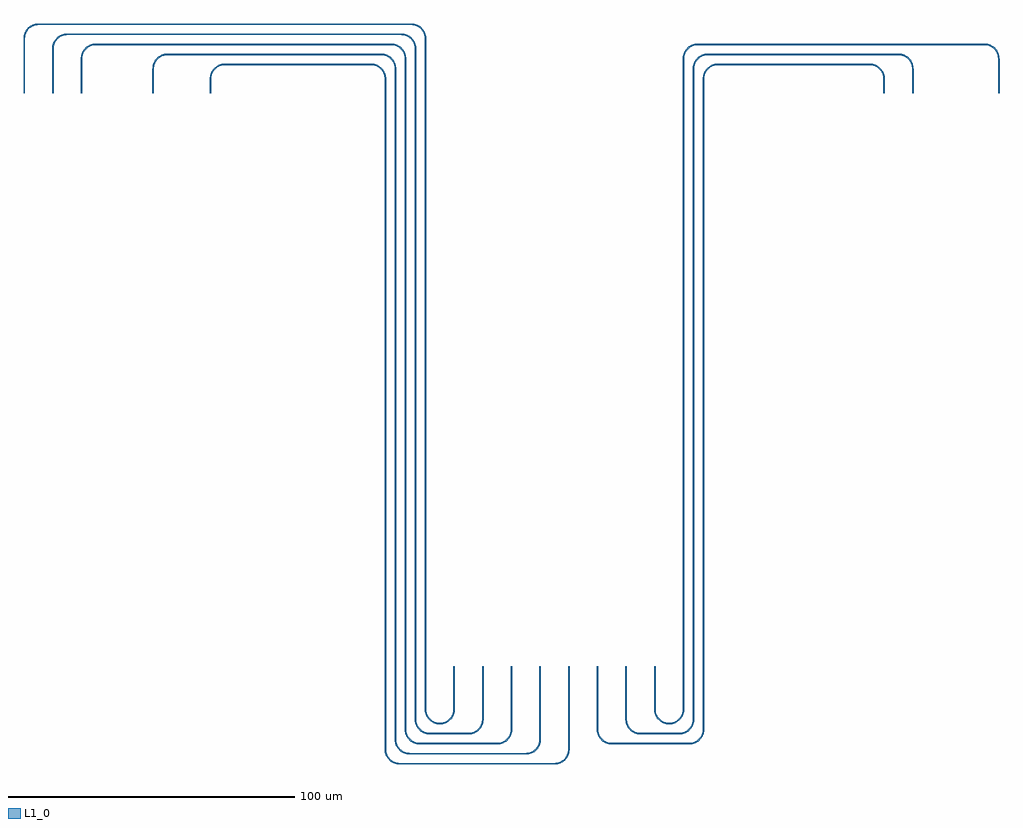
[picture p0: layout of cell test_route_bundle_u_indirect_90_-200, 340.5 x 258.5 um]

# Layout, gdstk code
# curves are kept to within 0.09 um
from math import pi, radians
import gdstk
lib = gdstk.Library(unit=1e-6, precision=1e-09)
def R(c, l, rs):  # rectangles x0, y0, x1, y1
    for r in rs: c.add(gdstk.rectangle(r[:2], r[2:], *l))
def P(c, l, *ps):  # polygons
    for p in ps: c.add(gdstk.Polygon(p, *l))
L1_0 = (1, 0)

bend_circular_gdsfactory = lib.new_cell('bend_circular_gdsfactorypcomponentspbendspbend_circular_0c9d0621')
P(bend_circular_gdsfactory, L1_0, [(0,-0.25),(0,0.25),(0.988,0.354),(1.932,0.661),(2.587,1.016),(3.359,1.641),(3.984,2.413),(4.339,3.068),(4.646,4.012),(4.75,5),(5.25,5),(5.135,3.908),(4.796,2.865),(4.247,1.914),(3.712,1.288),(3.086,0.753),(2.135,0.204),(1.092,-0.135)])

straight_gdsfactorypcomp = lib.new_cell('straight_gdsfactorypcomponentspwaveguidespstraight_L19__04b0d241')
R(straight_gdsfactorypcomp, L1_0, [(0,-0.25,19,0.25)])

c_straight_gdsfactorypcomp = lib.new_cell('straight_gdsfactorypcomponentspwaveguidespstraight_L130_494c334b')
R(c_straight_gdsfactorypcomp, L1_0, [(0,-0.25,130,0.25)])

c_straight_gdsfactorypcomp_ = lib.new_cell('straight_gdsfactorypcomponentspwaveguidespstraight_L234_3811858c')
R(c_straight_gdsfactorypcomp_, L1_0, [(0,-0.25,234,0.25)])

c_straight_gdsfactorypcomp__ = lib.new_cell('straight_gdsfactorypcomponentspwaveguidespstraight_L15__872c1d86')
R(c_straight_gdsfactorypcomp__, L1_0, [(0,-0.25,15,0.25)])

c_straight_gdsfactorypcomp___ = lib.new_cell('straight_gdsfactorypcomponentspwaveguidespstraight_L15p_a1f03c60')
R(c_straight_gdsfactorypcomp___, L1_0, [(0,-0.25,15.5,0.25)])

c_straight_gdsfactorypcomp____ = lib.new_cell('straight_gdsfactorypcomponentspwaveguidespstraight_L116_c2cb3646')
R(c_straight_gdsfactorypcomp____, L1_0, [(0,-0.25,116.5,0.25)])

c_straight_gdsfactorypcomp_____ = lib.new_cell('straight_gdsfactorypcomponentspwaveguidespstraight_L13p_5d7bad5d')
R(c_straight_gdsfactorypcomp_____, L1_0, [(0,-0.25,13.5,0.25)])

c_straight_gdsfactorypcomp______ = lib.new_cell('straight_gdsfactorypcomponentspwaveguidespstraight_L18p_a9db5d26')
R(c_straight_gdsfactorypcomp______, L1_0, [(0,-0.25,18.5,0.25)])

c_straight_gdsfactorypcomp_______ = lib.new_cell('straight_gdsfactorypcomponentspwaveguidespstraight_L12__f3e780f9')
R(c_straight_gdsfactorypcomp_______, L1_0, [(0,-0.25,12,0.25)])

c_straight_gdsfactorypcomp________ = lib.new_cell('straight_gdsfactorypcomponentspwaveguidespstraight_L103_23173387')
R(c_straight_gdsfactorypcomp________, L1_0, [(0,-0.25,103,0.25)])

c_straight_gdsfactorypcomp_________ = lib.new_cell('straight_gdsfactorypcomponentspwaveguidespstraight_L27__2bf0a6ae')
R(c_straight_gdsfactorypcomp_________, L1_0, [(0,-0.25,27,0.25)])

c_straight_gdsfactorypcomp__________ = lib.new_cell('straight_gdsfactorypcomponentspwaveguidespstraight_L22__d5b5a5a4')
R(c_straight_gdsfactorypcomp__________, L1_0, [(0,-0.25,22,0.25)])

c_straight_gdsfactorypcomp___________ = lib.new_cell('straight_gdsfactorypcomponentspwaveguidespstraight_L8p5_29adfe89')
R(c_straight_gdsfactorypcomp___________, L1_0, [(0,-0.25,8.5,0.25)])

c_straight_gdsfactorypcomp____________ = lib.new_cell('straight_gdsfactorypcomponentspwaveguidespstraight_L74p_1a9064db')
R(c_straight_gdsfactorypcomp____________, L1_0, [(0,-0.25,74.5,0.25)])

c_straight_gdsfactorypcomp_____________ = lib.new_cell('straight_gdsfactorypcomponentspwaveguidespstraight_L40p_ae74440f')
R(c_straight_gdsfactorypcomp_____________, L1_0, [(0,-0.25,40.5,0.25)])

c_straight_gdsfactorypcomp______________ = lib.new_cell('straight_gdsfactorypcomponentspwaveguidespstraight_L25p_17c3b0b8')
R(c_straight_gdsfactorypcomp______________, L1_0, [(0,-0.25,25.5,0.25)])

c_straight_gdsfactorypcomp_______________ = lib.new_cell('straight_gdsfactorypcomponentspwaveguidespstraight_L5_N_f5657628')
R(c_straight_gdsfactorypcomp_______________, L1_0, [(0,-0.25,5,0.25)])

c_straight_gdsfactorypcomp________________ = lib.new_cell('straight_gdsfactorypcomponentspwaveguidespstraight_L51__03aaf894')
R(c_straight_gdsfactorypcomp________________, L1_0, [(0,-0.25,51,0.25)])

c_straight_gdsfactorypcomp_________________ = lib.new_cell('straight_gdsfactorypcomponentspwaveguidespstraight_L54__b1e06083')
R(c_straight_gdsfactorypcomp_________________, L1_0, [(0,-0.25,54,0.25)])

c_straight_gdsfactorypcomp__________________ = lib.new_cell('straight_gdsfactorypcomponentspwaveguidespstraight_L29__e516d49d')
R(c_straight_gdsfactorypcomp__________________, L1_0, [(0,-0.25,29,0.25)])

c_straight_gdsfactorypcomp___________________ = lib.new_cell('straight_gdsfactorypcomponentspwaveguidespstraight_L53__a082d625')
R(c_straight_gdsfactorypcomp___________________, L1_0, [(0,-0.25,53,0.25)])

c_straight_gdsfactorypcomp____________________ = lib.new_cell('straight_gdsfactorypcomponentspwaveguidespstraight_L227_84f05189')
R(c_straight_gdsfactorypcomp____________________, L1_0, [(0,-0.25,227,0.25)])

c_straight_gdsfactorypcomp_____________________ = lib.new_cell('straight_gdsfactorypcomponentspwaveguidespstraight_L66p_535f6347')
R(c_straight_gdsfactorypcomp_____________________, L1_0, [(0,-0.25,66.5,0.25)])

c_straight_gdsfactorypcomp______________________ = lib.new_cell('straight_gdsfactorypcomponentspwaveguidespstraight_L100_d6863c55')
R(c_straight_gdsfactorypcomp______________________, L1_0, [(0,-0.25,100,0.25)])

test_route_bundle_u_indi = lib.new_cell('test_route_bundle_u_indirect_90_-200')
test_route_bundle_u_indi.add(gdstk.Reference(bend_circular_gdsfactory, (-95,24), rotation=pi))
test_route_bundle_u_indi.add(gdstk.Reference(straight_gdsfactorypcomp, (-100,0), rotation=pi/2))
test_route_bundle_u_indi.add(gdstk.Reference(bend_circular_gdsfactory, (40,19), rotation=pi/2))
test_route_bundle_u_indi.add(gdstk.Reference(c_straight_gdsfactorypcomp, (-95,24)))
test_route_bundle_u_indi.add(gdstk.Reference(bend_circular_gdsfactory, (45,-220), rotation=pi, x_reflection=True))
test_route_bundle_u_indi.add(gdstk.Reference(c_straight_gdsfactorypcomp_, (40,19), rotation=3*pi/2))
test_route_bundle_u_indi.add(gdstk.Reference(bend_circular_gdsfactory, (50,-215), rotation=3*pi/2, x_reflection=True))
test_route_bundle_u_indi.add(gdstk.Reference(c_straight_gdsfactorypcomp__, (50,-215), rotation=pi/2))
test_route_bundle_u_indi.add(gdstk.Reference(bend_circular_gdsfactory, (-85,20.5), rotation=pi))
test_route_bundle_u_indi.add(gdstk.Reference(c_straight_gdsfactorypcomp___, (-90,0), rotation=pi/2))
test_route_bundle_u_indi.add(gdstk.Reference(bend_circular_gdsfactory, (36.5,15.5), rotation=pi/2))
test_route_bundle_u_indi.add(gdstk.Reference(c_straight_gdsfactorypcomp____, (-85,20.5)))
test_route_bundle_u_indi.add(gdstk.Reference(bend_circular_gdsfactory, (41.5,-223.5), rotation=pi, x_reflection=True))
test_route_bundle_u_indi.add(gdstk.Reference(c_straight_gdsfactorypcomp_, (36.5,15.5), rotation=3*pi/2))
test_route_bundle_u_indi.add(gdstk.Reference(bend_circular_gdsfactory, (60,-218.5), rotation=3*pi/2, x_reflection=True))
test_route_bundle_u_indi.add(gdstk.Reference(c_straight_gdsfactorypcomp_____, (41.5,-223.5)))
test_route_bundle_u_indi.add(gdstk.Reference(c_straight_gdsfactorypcomp______, (60,-218.5), rotation=pi/2))
test_route_bundle_u_indi.add(gdstk.Reference(bend_circular_gdsfactory, (-75,17), rotation=pi))
test_route_bundle_u_indi.add(gdstk.Reference(c_straight_gdsfactorypcomp_______, (-80,0), rotation=pi/2))
test_route_bundle_u_indi.add(gdstk.Reference(bend_circular_gdsfactory, (33,12), rotation=pi/2))
test_route_bundle_u_indi.add(gdstk.Reference(c_straight_gdsfactorypcomp________, (-75,17)))
test_route_bundle_u_indi.add(gdstk.Reference(bend_circular_gdsfactory, (38,-227), rotation=pi, x_reflection=True))
test_route_bundle_u_indi.add(gdstk.Reference(c_straight_gdsfactorypcomp_, (33,12), rotation=3*pi/2))
test_route_bundle_u_indi.add(gdstk.Reference(bend_circular_gdsfactory, (70,-222), rotation=3*pi/2, x_reflection=True))
test_route_bundle_u_indi.add(gdstk.Reference(c_straight_gdsfactorypcomp_________, (38,-227)))
test_route_bundle_u_indi.add(gdstk.Reference(c_straight_gdsfactorypcomp__________, (70,-222), rotation=pi/2))
test_route_bundle_u_indi.add(gdstk.Reference(bend_circular_gdsfactory, (-50,13.5), rotation=pi))
test_route_bundle_u_indi.add(gdstk.Reference(c_straight_gdsfactorypcomp___________, (-55,0), rotation=pi/2))
test_route_bundle_u_indi.add(gdstk.Reference(bend_circular_gdsfactory, (29.5,8.5), rotation=pi/2))
test_route_bundle_u_indi.add(gdstk.Reference(c_straight_gdsfactorypcomp____________, (-50,13.5)))
test_route_bundle_u_indi.add(gdstk.Reference(bend_circular_gdsfactory, (34.5,-230.5), rotation=pi, x_reflection=True))
test_route_bundle_u_indi.add(gdstk.Reference(c_straight_gdsfactorypcomp_, (29.5,8.5), rotation=3*pi/2))
test_route_bundle_u_indi.add(gdstk.Reference(bend_circular_gdsfactory, (80,-225.5), rotation=3*pi/2, x_reflection=True))
test_route_bundle_u_indi.add(gdstk.Reference(c_straight_gdsfactorypcomp_____________, (34.5,-230.5)))
test_route_bundle_u_indi.add(gdstk.Reference(c_straight_gdsfactorypcomp______________, (80,-225.5), rotation=pi/2))
test_route_bundle_u_indi.add(gdstk.Reference(bend_circular_gdsfactory, (-30,10), rotation=pi))
test_route_bundle_u_indi.add(gdstk.Reference(c_straight_gdsfactorypcomp_______________, (-35,0), rotation=pi/2))
test_route_bundle_u_indi.add(gdstk.Reference(bend_circular_gdsfactory, (26,5), rotation=pi/2))
test_route_bundle_u_indi.add(gdstk.Reference(c_straight_gdsfactorypcomp________________, (-30,10)))
test_route_bundle_u_indi.add(gdstk.Reference(bend_circular_gdsfactory, (31,-234), rotation=pi, x_reflection=True))
test_route_bundle_u_indi.add(gdstk.Reference(c_straight_gdsfactorypcomp_, (26,5), rotation=3*pi/2))
test_route_bundle_u_indi.add(gdstk.Reference(bend_circular_gdsfactory, (90,-229), rotation=3*pi/2, x_reflection=True))
test_route_bundle_u_indi.add(gdstk.Reference(c_straight_gdsfactorypcomp_________________, (31,-234)))
test_route_bundle_u_indi.add(gdstk.Reference(c_straight_gdsfactorypcomp__________________, (90,-229), rotation=pi/2))
test_route_bundle_u_indi.add(gdstk.Reference(bend_circular_gdsfactory, (195,10), x_reflection=True))
test_route_bundle_u_indi.add(gdstk.Reference(c_straight_gdsfactorypcomp_______________, (200,0), rotation=pi/2))
test_route_bundle_u_indi.add(gdstk.Reference(bend_circular_gdsfactory, (137,5), rotation=pi/2, x_reflection=True))
test_route_bundle_u_indi.add(gdstk.Reference(c_straight_gdsfactorypcomp___________________, (195,10), rotation=pi))
test_route_bundle_u_indi.add(gdstk.Reference(bend_circular_gdsfactory, (132,-227)))
test_route_bundle_u_indi.add(gdstk.Reference(c_straight_gdsfactorypcomp____________________, (137,5), rotation=3*pi/2))
test_route_bundle_u_indi.add(gdstk.Reference(bend_circular_gdsfactory, (100,-222), rotation=3*pi/2))
test_route_bundle_u_indi.add(gdstk.Reference(c_straight_gdsfactorypcomp_________, (132,-227), rotation=pi))
test_route_bundle_u_indi.add(gdstk.Reference(c_straight_gdsfactorypcomp__________, (100,-222), rotation=pi/2))
test_route_bundle_u_indi.add(gdstk.Reference(bend_circular_gdsfactory, (205,13.5), x_reflection=True))
test_route_bundle_u_indi.add(gdstk.Reference(c_straight_gdsfactorypcomp___________, (210,0), rotation=pi/2))
test_route_bundle_u_indi.add(gdstk.Reference(bend_circular_gdsfactory, (133.5,8.5), rotation=pi/2, x_reflection=True))
test_route_bundle_u_indi.add(gdstk.Reference(c_straight_gdsfactorypcomp_____________________, (205,13.5), rotation=pi))
test_route_bundle_u_indi.add(gdstk.Reference(bend_circular_gdsfactory, (128.5,-223.5)))
test_route_bundle_u_indi.add(gdstk.Reference(c_straight_gdsfactorypcomp____________________, (133.5,8.5), rotation=3*pi/2))
test_route_bundle_u_indi.add(gdstk.Reference(bend_circular_gdsfactory, (110,-218.5), rotation=3*pi/2))
test_route_bundle_u_indi.add(gdstk.Reference(c_straight_gdsfactorypcomp_____, (128.5,-223.5), rotation=pi))
test_route_bundle_u_indi.add(gdstk.Reference(c_straight_gdsfactorypcomp______, (110,-218.5), rotation=pi/2))
test_route_bundle_u_indi.add(gdstk.Reference(bend_circular_gdsfactory, (235,17), x_reflection=True))
test_route_bundle_u_indi.add(gdstk.Reference(c_straight_gdsfactorypcomp_______, (240,0), rotation=pi/2))
test_route_bundle_u_indi.add(gdstk.Reference(bend_circular_gdsfactory, (130,12), rotation=pi/2, x_reflection=True))
test_route_bundle_u_indi.add(gdstk.Reference(c_straight_gdsfactorypcomp______________________, (235,17), rotation=pi))
test_route_bundle_u_indi.add(gdstk.Reference(bend_circular_gdsfactory, (125,-220)))
test_route_bundle_u_indi.add(gdstk.Reference(c_straight_gdsfactorypcomp____________________, (130,12), rotation=3*pi/2))
test_route_bundle_u_indi.add(gdstk.Reference(bend_circular_gdsfactory, (120,-215), rotation=3*pi/2))
test_route_bundle_u_indi.add(gdstk.Reference(c_straight_gdsfactorypcomp__, (120,-215), rotation=pi/2))

lib.write_gds('test_route_bundle_u_indirect_90_-200.gds')
